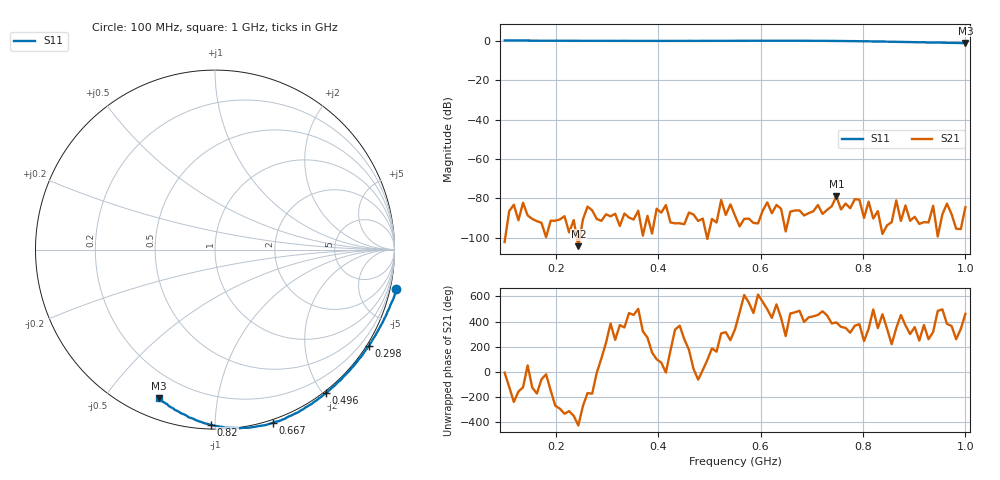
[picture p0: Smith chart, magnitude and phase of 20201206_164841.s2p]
# HZ S RI R 50
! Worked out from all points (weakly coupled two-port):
!   101 points, 100 MHz to 1 GHz, reference 50 ohm
!   highest |S21| = -79.07 dB at 748 MHz (marker M1); lowest = -104.4 dB at 244 MHz (marker M2)
!   lowest |S11| = -1.1 dB at 1 GHz (marker M3), VSWR 16.54, Z = 4.46 - j34.4 ohm
!   |S11| at or under -10 dB: nowhere
!   S12 and S22 are empty: the file has one direction only
!   S11 on the Smith chart (normalised r, x): 100 MHz: -1.29, -9.13; 298 MHz: -0.07, -3.47; 496 MHz: -0.03, -2.04; 667 MHz: -0.02, -1.39; 820 MHz: 0.02, -0.98; 1 GHz: 0.09, -0.69
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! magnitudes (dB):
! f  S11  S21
! 100 MHz  0.3  -102.3
! 109 MHz  0.3  -86.5
! 154 MHz  0.2  -90.5
! 244 MHz  0.1  -104.4
! 253 MHz  0.1  -90.8
! 298 MHz  0.1  -88.2
! 352 MHz  0.1  -90.8
! 406 MHz  0.1  -87.4
! 496 MHz  0.1  -100.7
! 550 MHz  0.1  -88.9
! 649 MHz  0.2  -96.9
! 667 MHz  0.1  -86.2
! 685 MHz  0.1  -88.8
! 703 MHz  0.1  -86.6
! 739 MHz  0.0  -84.1
! 748 MHz  0.0  -79.1
! 757 MHz  0.0  -85.7
! 784 MHz  -0.1  -80.5
! 820 MHz  -0.2  -90.3
! 856 MHz  -0.4  -92.2
! 937 MHz  -0.8  -83.9
! 1 GHz  -1.1  -84.6
